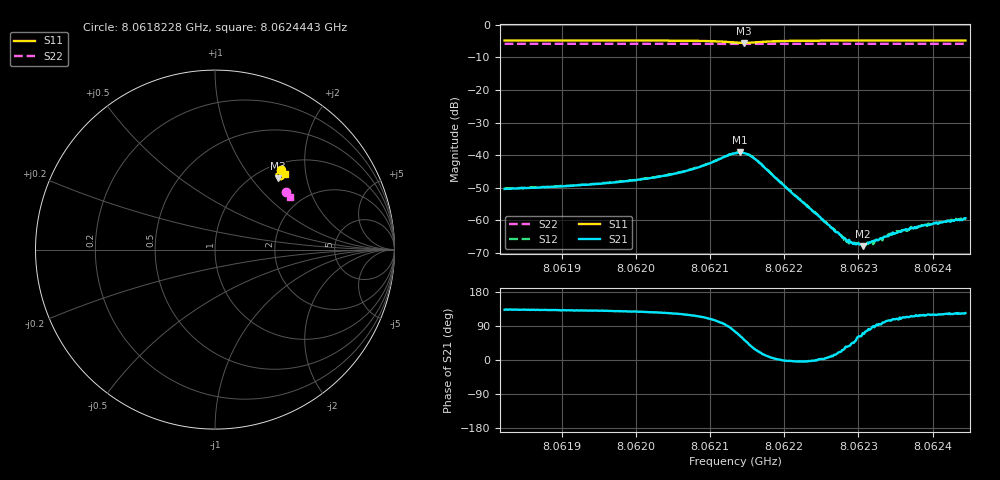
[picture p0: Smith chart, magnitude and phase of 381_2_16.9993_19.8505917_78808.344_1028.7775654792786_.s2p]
#  HZ  S  RI  R  50.00
! Rohde & Schwarz Vector Network Analyzer
! Rohde-Schwarz,ZNB20-2Port,1311601062101988,3.16
! Created: UTC 3/20/2024, 11:09:09 PM
! freq[Hz]  re:S11  im:S11  re:S21  im:S21  re:S12  im:S12  re:S22  im:S22
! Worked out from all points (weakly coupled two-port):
!   401 points, 8.0618228 GHz to 8.0624443 GHz, reference 50 ohm
!   highest |S21| = -39.13 dB at 8.0621398 GHz (marker M1); lowest = -67.9 dB at 8.0623061 GHz (marker M2)
!   lowest |S11| = -5.5 dB at 8.062146 GHz (marker M3), VSWR 3.25, Z = 61.9 + j68.4 ohm
!   |S11| at or under -10 dB: nowhere
!   |S22| runs from -5.9 to -5.8 dB; largest |S21 - S12| = 0.0008
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8.06182285e9  0.3657 0.4451  -0.00206 0.00224  -0.00196 0.00238  0.3983 0.3224
8.06192695e9  0.373 0.4386  -0.00232 0.00266  -0.00215 0.00279  0.4024 0.3173
8.06199065e9  0.3777 0.4335  -0.00251 0.00319  -0.00236 0.00335  0.4047 0.3139
8.06203105e9  0.3813 0.4289  -0.0027 0.00381  -0.0025 0.00402  0.4061 0.3119
8.06208387e9  0.3857 0.4173  -0.00278 0.00589  -0.00244 0.0061  0.408 0.3086
8.06213359e9  0.3662 0.3921  0.00274 0.0104  0.00338 0.0104  0.4085 0.3054
8.06213981e9  0.3576 0.3928  0.0047 0.01  0.00531 0.00967  0.4085 0.3053
8.06214602e9  0.3494 0.3974  0.00651 0.00859  0.00695 0.00827  0.4083 0.3055
8.06215534e9  0.3425 0.4092  0.00777 0.00571  0.00809 0.00538  0.4085 0.3055
8.06216622e9  0.3438 0.4223  0.00715 0.00281  0.00748 0.00234  0.4088 0.3056
8.06223769e9  0.3719 0.4346  0.00142 -3.26e-05  0.00143 -0.000146  0.4129 0.3024
8.06226721e9  0.377 0.4328  0.000684 0.000169  0.000721 0.000148  0.4139 0.3007
8.0622843e9  0.3793 0.4317  0.000411 0.000281  0.000426 0.000193  0.4148 0.2999
8.06229362e9  0.3803 0.4309  0.000308 0.000308  0.000314 0.000334  0.4151 0.2996
8.06230605e9  0.3816 0.4301  0.000131 0.000382  0.000203 0.000371  0.4156 0.2989
8.06232936e9  0.3839 0.4287  -3.52e-05 0.000531  -3.21e-05 0.00052  0.4163 0.2974
8.06233713e9  0.3846 0.4282  -0.000122 0.000552  -9.65e-05 0.000573  0.4167 0.2972
8.06234179e9  0.3849 0.4279  -0.000152 0.000575  -0.000118 0.000609  0.4168 0.2969
8.06236199e9  0.3868 0.4267  -0.000277 0.000661  -0.000221 0.0007  0.4176 0.2958
8.06240083e9  0.3896 0.4244  -0.000443 0.00078  -0.000388 0.000799  0.419 0.2938
8.06243501e9  0.392 0.4226  -0.000583 0.00086  -0.000499 0.000898  0.4201 0.292
8.06244434e9  0.3925 0.4219  -0.000601 0.0009  -0.000486 0.000899  0.4204 0.2915
